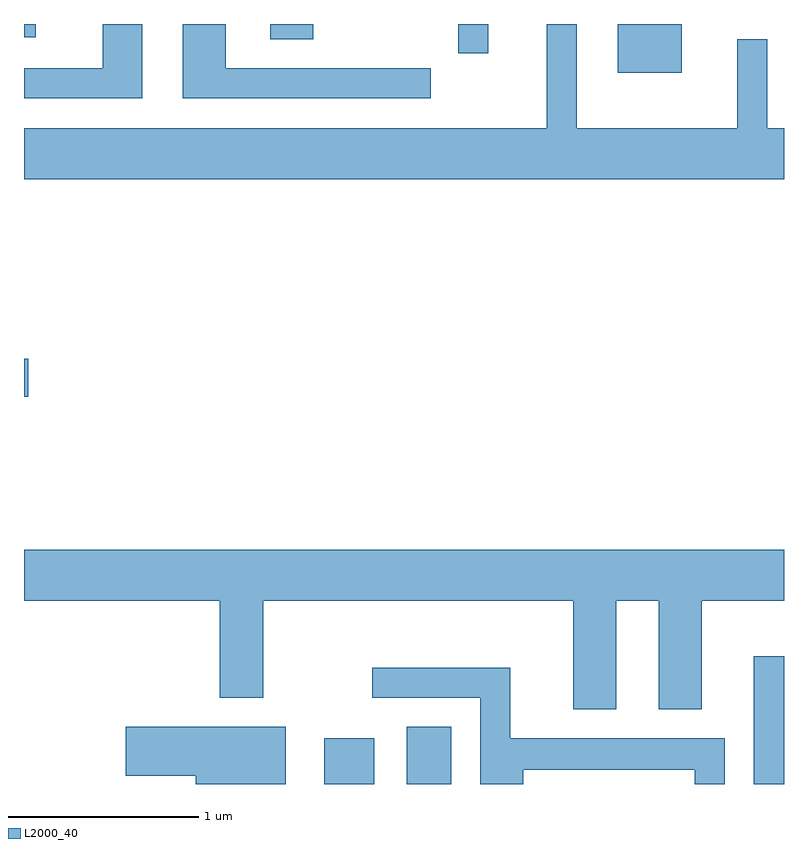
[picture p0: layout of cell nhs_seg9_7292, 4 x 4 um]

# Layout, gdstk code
import gdstk
lib = gdstk.Library(unit=1e-6, precision=1e-09)
def R(c, l, rs):  # rectangles x0, y0, x1, y1
    for r in rs: c.add(gdstk.rectangle(r[:2], r[2:], *l))
def P(c, l, *ps):  # polygons
    for p in ps: c.add(gdstk.Polygon(p, *l))
L2000_40 = (2000, 40)

nhs_seg9_7292 = lib.new_cell('nhs_seg9_7292')
R(nhs_seg9_7292, L2000_40, [(403.191,1966.432,403.454,1966.674), (403.626,1966.432,403.859,1966.734), (405.451,1966.432,405.611,1967.104), (401.611,1968.471,401.634,1968.669), (404.736,1970.176,405.074,1970.432), (402.906,1970.351,403.134,1970.432), (401.611,1970.361,401.673,1970.432)])
P(nhs_seg9_7292, L2000_40, [(405.611,1969.884),(405.524,1969.884),(405.524,1970.353),(405.366,1970.353),(405.366,1969.884),(404.519,1969.884),(404.519,1970.432),(404.361,1970.432),(404.361,1969.884),(401.611,1969.884),(401.611,1969.616),(405.611,1969.616)],
  [(404.054,1970.432),(403.286,1970.432),(403.286,1970.431),(403.896,1970.431),(403.896,1970.278),(404.054,1970.278)],
  [(403.753,1970.199),(402.674,1970.199),(402.674,1970.432),(402.446,1970.432),(402.446,1970.041),(403.753,1970.041)],
  [(402.234,1970.432),(402.026,1970.432),(402.026,1970.199),(401.611,1970.199),(401.611,1970.041),(402.234,1970.041)],
  [(404.729,1967.396),(404.951,1967.396),(404.951,1966.826),(405.179,1966.826),(405.179,1967.396),(405.611,1967.396),(405.611,1967.664),(401.611,1967.664),(401.611,1967.396),(402.641,1967.396),(402.641,1966.886),(402.869,1966.886),(402.869,1967.396),(404.501,1967.396),(404.501,1966.826),(404.729,1966.826)],
  [(404.239,1966.506),(405.141,1966.506),(405.141,1966.432),(405.299,1966.432),(405.299,1966.674),(404.169,1966.674),(404.169,1967.044),(403.443,1967.044),(403.443,1966.886),(404.011,1966.886),(404.011,1966.432),(404.239,1966.432)],
  [(402.989,1966.734),(402.146,1966.734),(402.146,1966.476),(402.516,1966.476),(402.516,1966.432),(402.989,1966.432)])

lib.write_gds('nhs_seg9_7292.gds')
